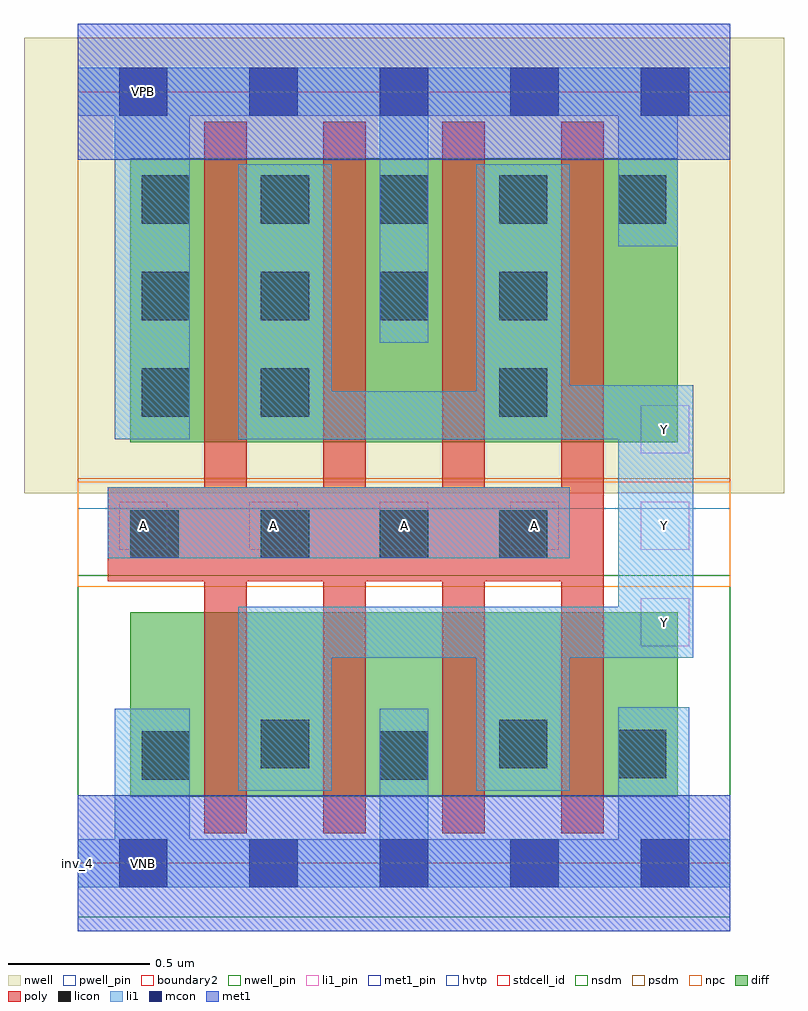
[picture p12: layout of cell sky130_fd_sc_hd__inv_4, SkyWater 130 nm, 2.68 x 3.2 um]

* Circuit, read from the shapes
.subckt sky130_fd_sc_hd__inv_4 A VGND VNB VPB VPWR Y
XM1 Y A VGND VNB sky130_fd_pr__nfet_01v8 w=0.65 l=0.15 m=4
XM2 Y A VPWR VPB sky130_fd_pr__pfet_01v8_hvt w=1 l=0.15 m=4
.ends

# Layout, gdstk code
import gdstk
lib = gdstk.Library(unit=1e-6, precision=1e-09)
def R(c, l, rs):  # rectangles x0, y0, x1, y1
    for r in rs: c.add(gdstk.rectangle(r[:2], r[2:], *l))
def A(c, l, x, y, w, h, nx, ny, dx, dy):  # array of equal rectangles
    R(c, l, [(x+i*dx, y+j*dy, x+i*dx+w, y+j*dy+h) for i in range(nx) for j in range(ny)])
def P(c, l, *ps):  # polygons
    for p in ps: c.add(gdstk.Polygon(p, *l))
nwell_pin = (64, 16)
nwell = (64, 20)
diff = (65, 20)
poly = (66, 20)
licon = (66, 44)
li1_pin = (67, 16)
li1 = (67, 20)
mcon = (67, 44)
met1_pin = (68, 16)
met1 = (68, 20)
hvtp = (78, 44)
stdcell_id = (81, 4)
nsdm = (93, 44)
psdm = (94, 20)
npc = (95, 20)
pwell_pin = (122, 16)
boundary2 = (236, 0)

sky130_fd_sc_hd__inv_4 = lib.new_cell('sky130_fd_sc_hd__inv_4')
R(sky130_fd_sc_hd__inv_4, nwell_pin, [(0.145,2.635,0.315,2.805)])
R(sky130_fd_sc_hd__inv_4, nwell, [(-0.19,1.305,2.49,2.91)])
R(sky130_fd_sc_hd__inv_4, diff, [(0.185,0.235,2.115,0.885), (0.185,1.485,2.115,2.485)])
P(sky130_fd_sc_hd__inv_4, poly, [(1.855,2.615),(1.705,2.615),(1.705,1.325),(1.435,1.325),(1.435,2.615),(1.285,2.615),(1.285,1.325),(1.015,1.325),(1.015,2.615),(0.865,2.615),(0.865,1.325),(0.595,1.325),(0.595,2.615),(0.445,2.615),(0.445,1.325),(0.105,1.325),(0.105,0.995),(0.445,0.995),(0.445,0.105),(0.595,0.105),(0.595,0.995),(0.865,0.995),(0.865,0.105),(1.015,0.105),(1.015,0.995),(1.285,0.995),(1.285,0.105),(1.435,0.105),(1.435,0.995),(1.705,0.995),(1.705,0.105),(1.855,0.105)])
A(sky130_fd_sc_hd__inv_4, licon, 0.645, 1.075, 0.17, 0.17, 3, 1, 0.42, 0)
A(sky130_fd_sc_hd__inv_4, licon, 0.225, 1.915, 0.17, 0.17, 4, 1, 0.42, 0)
A(sky130_fd_sc_hd__inv_4, licon, 0.225, 2.255, 0.17, 0.17, 5, 1, 0.42, 0)
R(sky130_fd_sc_hd__inv_4, licon, [(0.225,0.295,0.395,0.465), (1.065,0.295,1.235,0.465), (1.905,0.3,2.075,0.47), (0.645,0.335,0.815,0.505), (1.485,0.335,1.655,0.505), (0.185,1.075,0.355,1.245), (0.225,1.575,0.395,1.745), (0.645,1.575,0.815,1.745), (1.485,1.575,1.655,1.745)])
A(sky130_fd_sc_hd__inv_4, li1_pin, 0.145, 1.105, 0.17, 0.17, 5, 1, 0.46, 0)
R(sky130_fd_sc_hd__inv_4, li1_pin, [(1.985,0.765,2.155,0.935), (1.985,1.445,2.155,1.615)])
R(sky130_fd_sc_hd__inv_4, li1, [(0.105,1.075,1.735,1.325)])
P(sky130_fd_sc_hd__inv_4, li1, [(2.3,0.085),(2.155,0.085),(2.155,0.55),(1.905,0.55),(1.905,0.085),(1.235,0.085),(1.235,0.545),(1.065,0.545),(1.065,0.085),(0.395,0.085),(0.395,0.545),(0.13,0.545),(0.13,0.085),(0,0.085),(0,-0.085),(2.3,-0.085)],
  [(2.3,2.805),(0,2.805),(0,2.635),(0.13,2.635),(0.13,1.495),(0.395,1.495),(0.395,2.635),(1.065,2.635),(1.065,1.835),(1.235,1.835),(1.235,2.635),(1.905,2.635),(1.905,2.175),(2.115,2.175),(2.115,2.635),(2.3,2.635)],
  [(2.17,1.685),(1.735,1.685),(1.735,2.465),(1.405,2.465),(1.405,1.665),(0.895,1.665),(0.895,2.465),(0.565,2.465),(0.565,1.495),(1.905,1.495),(1.905,0.905),(0.565,0.905),(0.565,0.255),(0.895,0.255),(0.895,0.725),(1.405,0.725),(1.405,0.255),(1.735,0.255),(1.735,0.725),(2.17,0.725)])
A(sky130_fd_sc_hd__inv_4, mcon, 0.145, -0.085, 0.17, 0.17, 5, 2, 0.46, 2.72)
R(sky130_fd_sc_hd__inv_4, met1_pin, [(0.145,-0.085,0.315,0.085), (0.145,2.635,0.315,2.805)])
R(sky130_fd_sc_hd__inv_4, hvtp, [(0,1.25,2.3,2.72)])
R(sky130_fd_sc_hd__inv_4, stdcell_id, [(0,0,2.3,2.72)])
R(sky130_fd_sc_hd__inv_4, nsdm, [(0,-0.19,2.3,1.015)])
R(sky130_fd_sc_hd__inv_4, psdm, [(0,1.355,2.3,2.91)])
R(sky130_fd_sc_hd__inv_4, npc, [(0,0.975,2.3,1.345)])
R(sky130_fd_sc_hd__inv_4, pwell_pin, [(0.145,-0.085,0.315,0.085)])
R(sky130_fd_sc_hd__inv_4, boundary2, [(0,0,2.3,2.72)])
sky130_fd_sc_hd__inv_4.add(gdstk.FlexPath([(0,2.72),(2.3,2.72)], 0.48, ends="flush", simple_path=True, layer=68, datatype=20))  # met1
sky130_fd_sc_hd__inv_4.add(gdstk.FlexPath([(0,0),(2.3,0)], 0.48, ends="flush", simple_path=True, layer=68, datatype=20))  # met1
sky130_fd_sc_hd__inv_4.add(gdstk.Label('Y', (2.07,0.85), layer=67, texttype=5))
sky130_fd_sc_hd__inv_4.add(gdstk.Label('Y', (2.07,1.19), layer=67, texttype=5))
sky130_fd_sc_hd__inv_4.add(gdstk.Label('Y', (2.07,1.53), layer=67, texttype=5))
sky130_fd_sc_hd__inv_4.add(gdstk.Label('A', (0.23,1.19), layer=67, texttype=5))
sky130_fd_sc_hd__inv_4.add(gdstk.Label('A', (0.69,1.19), layer=67, texttype=5))
sky130_fd_sc_hd__inv_4.add(gdstk.Label('A', (1.15,1.19), layer=67, texttype=5))
sky130_fd_sc_hd__inv_4.add(gdstk.Label('A', (1.61,1.19), layer=67, texttype=5))
sky130_fd_sc_hd__inv_4.add(gdstk.Label('VPB', (0.23,2.72), layer=64, texttype=5))
sky130_fd_sc_hd__inv_4.add(gdstk.Label('VNB', (0.23,0), layer=64, texttype=59))
sky130_fd_sc_hd__inv_4.add(gdstk.Label('VPWR', (0.23,2.72), layer=68, texttype=5))
sky130_fd_sc_hd__inv_4.add(gdstk.Label('VGND', (0.23,0), layer=68, texttype=5))
sky130_fd_sc_hd__inv_4.add(gdstk.Label('inv_4', (0,0), layer=83, texttype=44))

lib.write_gds('sky130_fd_sc_hd__inv_4.gds')
